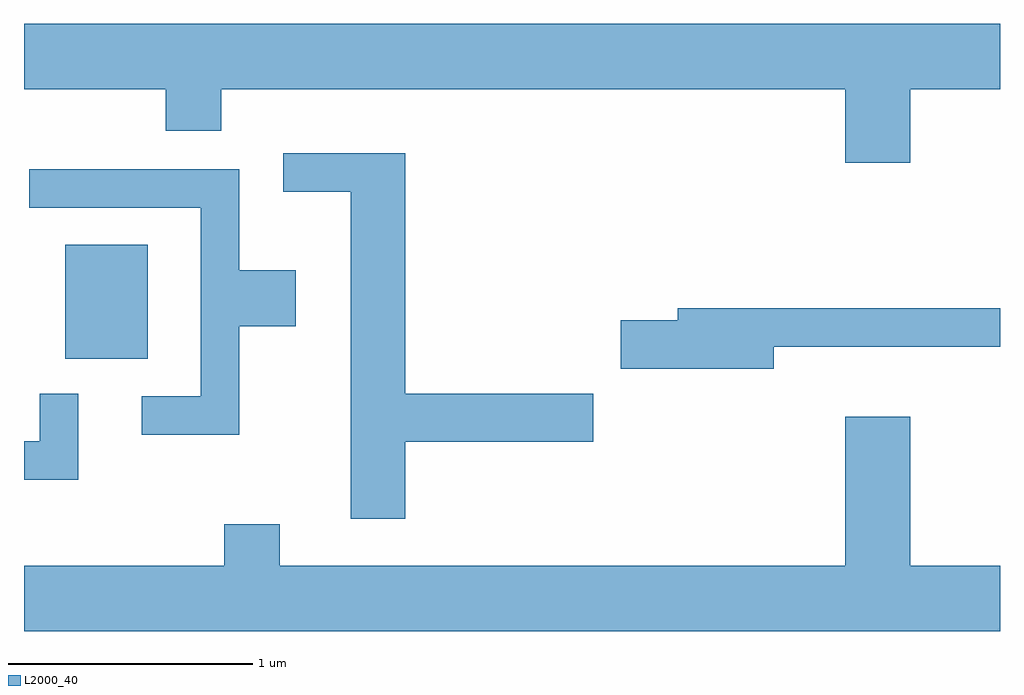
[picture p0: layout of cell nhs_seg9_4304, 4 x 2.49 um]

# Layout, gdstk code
import gdstk
lib = gdstk.Library(unit=1e-6, precision=1e-09)
def R(c, l, rs):  # rectangles x0, y0, x1, y1
    for r in rs: c.add(gdstk.rectangle(r[:2], r[2:], *l))
def P(c, l, *ps):  # polygons
    for p in ps: c.add(gdstk.Polygon(p, *l))
L2000_40 = (2000, 40)

nhs_seg9_4304 = lib.new_cell('nhs_seg9_4304')
R(nhs_seg9_4304, L2000_40, [(311.781,2021.791,312.119,2022.259)])
P(nhs_seg9_4304, L2000_40, [(315.244,2022.896),(315.611,2022.896),(315.611,2023.164),(311.611,2023.164),(311.611,2022.896),(312.191,2022.896),(312.191,2022.726),(312.419,2022.726),(312.419,2022.896),(314.976,2022.896),(314.976,2022.596),(315.244,2022.596)],
  [(313.174,2021.451),(313.944,2021.451),(313.944,2021.649),(313.174,2021.649),(313.174,2022.634),(312.673,2022.634),(312.673,2022.476),(312.951,2022.476),(312.951,2021.136),(313.174,2021.136)],
  [(312.494,2021.926),(312.724,2021.926),(312.724,2022.154),(312.494,2022.154),(312.494,2022.569),(311.633,2022.569),(311.633,2022.411),(312.336,2022.411),(312.336,2021.639),(312.093,2021.639),(312.093,2021.481),(312.494,2021.481)],
  [(314.684,2021.841),(315.611,2021.841),(315.611,2021.999),(314.291,2021.999),(314.291,2021.949),(314.056,2021.949),(314.056,2021.751),(314.684,2021.751)],
  [(311.834,2021.648),(311.676,2021.648),(311.676,2021.454),(311.611,2021.454),(311.611,2021.296),(311.834,2021.296)],
  [(315.611,2020.944),(315.244,2020.944),(315.244,2021.554),(314.976,2021.554),(314.976,2020.944),(312.659,2020.944),(312.659,2021.114),(312.431,2021.114),(312.431,2020.944),(311.611,2020.944),(311.611,2020.676),(315.611,2020.676)])

lib.write_gds('nhs_seg9_4304.gds')
